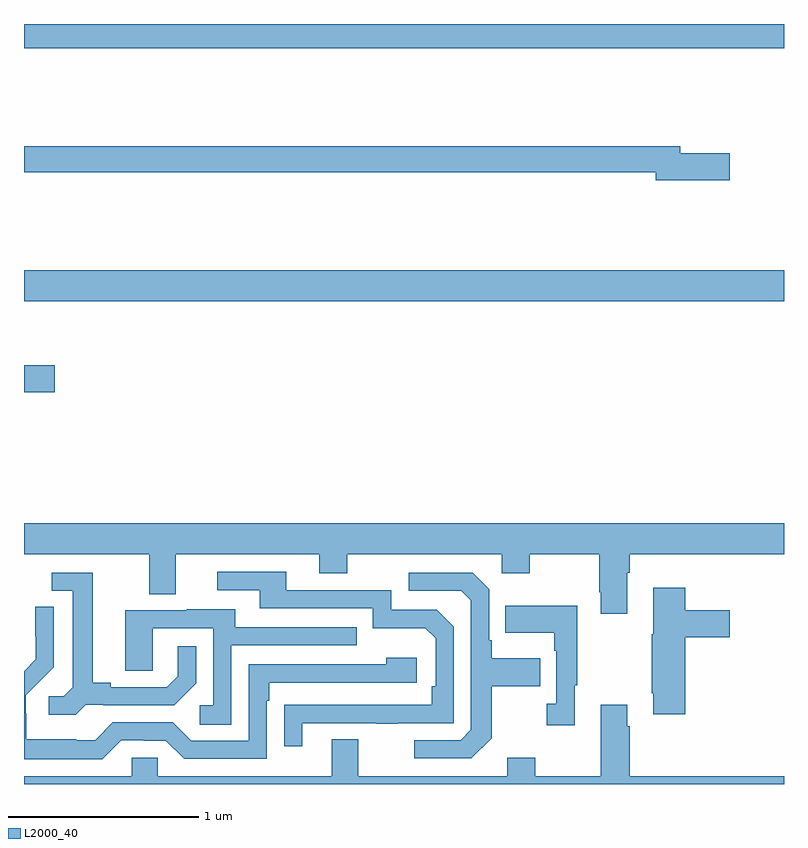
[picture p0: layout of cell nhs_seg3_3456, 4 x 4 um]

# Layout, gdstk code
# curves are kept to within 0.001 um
import gdstk
lib = gdstk.Library(unit=1e-6, precision=1e-09)
def R(c, l, rs):  # rectangles x0, y0, x1, y1
    for r in rs: c.add(gdstk.rectangle(r[:2], r[2:], *l))
def P(c, l, *ps):  # polygons
    for p in ps: c.add(gdstk.Polygon(p, *l))
L2000_40 = (2000, 40)

nhs_seg3_3456 = lib.new_cell('nhs_seg3_3456')
R(nhs_seg3_3456, L2000_40, [(291,676.463,291.163,676.605), (291,676.94,295,677.104), (291,678.272,295,678.4)])
P(nhs_seg3_3456, L2000_40, [(294.715,677.72),(294.454,677.72),(294.454,677.756),(291,677.756),(291,677.62),(294.326,677.62),(294.326,677.578),(294.715,677.578)],
  [(294.175,675.512),(294.188,675.512),(294.188,675.608),(295,675.608),(295,675.772),(291,675.772),(291,675.608),(291.659,675.608),(291.659,675.4),(291.799,675.4),(291.799,675.608),(292.553,675.608),(292.553,675.509),(292.701,675.509),(292.701,675.608),(293.514,675.608),(293.514,675.509),(293.661,675.509),(293.661,675.608),(294.028,675.608),(294.028,675.409),(294.035,675.409),(294.035,675.297),(294.175,675.297)],
  [(292.465,674.721),(292.855,674.721),(292.855,674.716),(292.967,674.716),(292.967,674.721),(293.262,674.721),(293.262,675.228),(293.172,675.318),(292.932,675.318),(292.932,675.42),(292.381,675.42),(292.381,675.516),(292.017,675.516),(292.017,675.42),(292.241,675.42),(292.241,675.324),(292.836,675.324),(292.836,675.221),(293.113,675.221),(293.166,675.168),(293.166,674.914),(293.146,674.914),(293.146,674.817),(292.369,674.816),(292.369,674.598),(292.465,674.598)],
  [(291.324,674.817),(291.418,674.817),(291.418,674.814),(291.79,674.814),(291.906,674.93),(291.906,675.124),(291.809,675.124),(291.809,674.967),(291.752,674.91),(291.457,674.91),(291.457,674.933),(291.361,674.933),(291.361,675.513),(291.147,675.513),(291.147,675.417),(291.257,675.417),(291.257,674.909),(291.21,674.862),(291.129,674.862),(291.129,674.765),(291.272,674.765)],
  [(293.461,674.641),(293.461,674.914),(293.717,674.914),(293.717,675.061),(293.461,675.061),(293.461,675.157),(293.448,675.157),(293.448,675.426),(293.361,675.513),(293.025,675.513),(293.025,675.417),(293.301,675.417),(293.352,675.366),(293.352,674.685),(293.298,674.631),(293.055,674.631),(293.055,674.535),(293.355,674.535)],
  [(294.479,675.173),(294.715,675.173),(294.715,675.315),(294.479,675.315),(294.479,675.433),(294.311,675.433),(294.311,675.189),(294.304,675.189),(294.304,674.878),(294.311,674.878),(294.311,674.766),(294.479,674.766)],
  [(293.899,674.921),(293.911,674.921),(293.911,675.337),(293.533,675.337),(293.533,675.197),(293.79,675.197),(293.79,675.101),(293.802,675.101),(293.802,674.822),(293.751,674.822),(293.751,674.709),(293.899,674.709)],
  [(291.513,674.631),(291.629,674.631),(291.629,674.628),(291.747,674.628),(291.843,674.532),(292.278,674.532),(292.278,674.837),(292.291,674.837),(292.291,674.934),(293.068,674.934),(293.068,675.064),(292.907,675.064),(292.907,675.03),(292.182,675.03),(292.182,674.628),(291.879,674.628),(291.783,674.724),(291.468,674.724),(291.375,674.631),(291.275,674.631),(291.275,674.635),(291.012,674.635),(291.012,674.769),(291.01,674.769),(291.01,674.866),(291.156,675.014),(291.156,675.332),(291.06,675.332),(291.06,675.178),(291.062,675.178),(291.062,675.056),(291,674.994),(291,674.531),(291.413,674.531)],
  [(292.092,675.129),(292.751,675.129),(292.751,675.225),(292.111,675.225),(292.111,675.319),(291.857,675.319),(291.857,675.315),(291.533,675.315),(291.533,674.995),(291.678,674.995),(291.678,675.219),(291.996,675.219),(291.996,674.814),(291.924,674.814),(291.924,674.713),(292.092,674.713)],
  [(295,674.44),(294.188,674.44),(294.188,674.705),(294.175,674.705),(294.175,674.818),(294.035,674.818),(294.035,674.44),(293.691,674.44),(293.691,674.539),(293.543,674.539),(293.543,674.44),(292.759,674.44),(292.759,674.635),(292.619,674.635),(292.619,674.44),(291.705,674.44),(291.705,674.538),(291.567,674.538),(291.567,674.44),(291,674.44),(291,674.4),(295,674.4)])

lib.write_gds('nhs_seg3_3456.gds')
